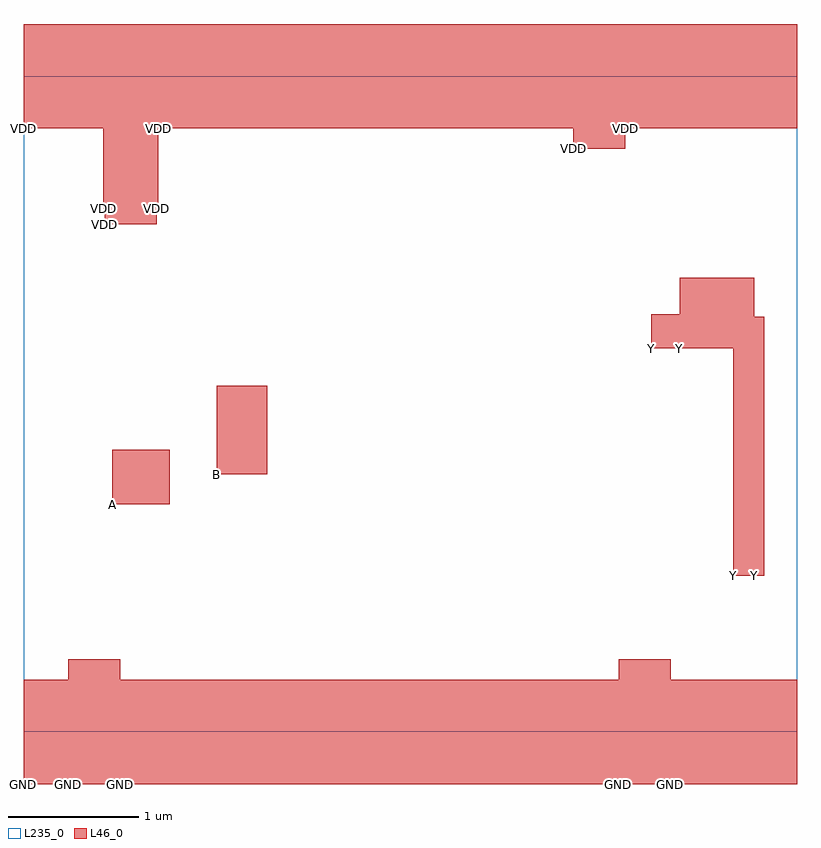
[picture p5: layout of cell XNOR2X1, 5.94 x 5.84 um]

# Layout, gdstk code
import gdstk
lib = gdstk.Library(unit=1e-6, precision=1e-09)
def R(c, l, rs):  # rectangles x0, y0, x1, y1
    for r in rs: c.add(gdstk.rectangle(r[:2], r[2:], *l))
L46_0 = (46, 0)
L235_0 = (235, 0)

xnor2x1 = lib.new_cell('XNOR2X1')
R(xnor2x1, L46_0, [(0,-0.4,0.34,0.4), (0.34,-0.4,0.74,0.56), (0.74,-0.4,4.57,0.4), (4.57,-0.4,4.97,0.56), (4.97,-0.4,5.94,0.4), (5.45,1.2,5.61,3.49), (5.61,1.2,5.69,3.19), (0.68,1.75,1.12,2.17), (1.48,1.98,1.87,2.66), (4.82,2.95,5.04,3.21), (5.04,2.95,5.45,3.49), (0.62,3.9,1.02,5.44), (0.61,4.02,0.62,5.44), (1.02,4.02,1.03,5.44), (4.22,4.48,4.62,5.44), (0,4.64,0.61,5.44), (1.03,4.64,4.22,5.44), (4.62,4.64,5.94,5.44)])
R(xnor2x1, L235_0, [(0,0,5.94,5.04)])
xnor2x1.add(gdstk.Label('Y', (5.61,1.2), layer=101, texttype=0))
xnor2x1.add(gdstk.Label('Y', (5.45,1.2), layer=101, texttype=0))
xnor2x1.add(gdstk.Label('Y', (5.04,2.95), layer=101, texttype=0))
xnor2x1.add(gdstk.Label('Y', (4.82,2.95), layer=101, texttype=0))
xnor2x1.add(gdstk.Label('B', (1.48,1.98), layer=101, texttype=0))
xnor2x1.add(gdstk.Label('A', (0.68,1.75), layer=101, texttype=0))
xnor2x1.add(gdstk.Label('VDD', (4.62,4.64), layer=101, texttype=0))
xnor2x1.add(gdstk.Label('VDD', (4.22,4.48), layer=101, texttype=0))
xnor2x1.add(gdstk.Label('VDD', (1.03,4.64), layer=101, texttype=0))
xnor2x1.add(gdstk.Label('VDD', (1.02,4.02), layer=101, texttype=0))
xnor2x1.add(gdstk.Label('VDD', (0.62,3.9), layer=101, texttype=0))
xnor2x1.add(gdstk.Label('VDD', (0.61,4.02), layer=101, texttype=0))
xnor2x1.add(gdstk.Label('VDD', (0,4.64), layer=101, texttype=0))
xnor2x1.add(gdstk.Label('GND', (4.97,-0.4), layer=101, texttype=0))
xnor2x1.add(gdstk.Label('GND', (4.57,-0.4), layer=101, texttype=0))
xnor2x1.add(gdstk.Label('GND', (0.74,-0.4), layer=101, texttype=0))
xnor2x1.add(gdstk.Label('GND', (0.34,-0.4), layer=101, texttype=0))
xnor2x1.add(gdstk.Label('GND', (0,-0.4), layer=101, texttype=0))

lib.write_gds('XNOR2X1.gds')
